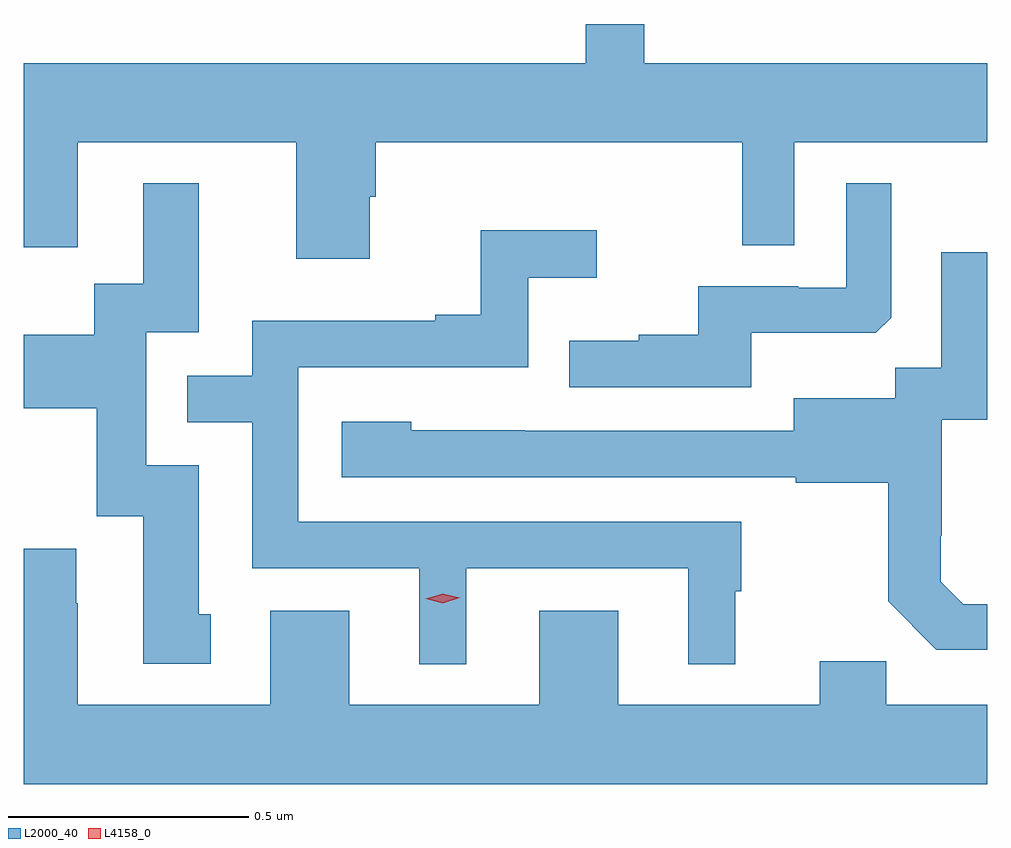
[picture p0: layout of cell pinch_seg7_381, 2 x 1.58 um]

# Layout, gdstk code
import gdstk
lib = gdstk.Library(unit=1e-6, precision=1e-09)
def P(c, l, *ps):  # polygons
    for p in ps: c.add(gdstk.Polygon(p, *l))
L2000_40 = (2000, 40)
L4158_0 = (4158, 0)

pinch_seg7_381 = lib.new_cell('pinch_seg7_381')
P(pinch_seg7_381, L2000_40, [(441.733,1029.807),(441.746,1029.807),(441.746,1029.92),(442.506,1029.92),(442.506,1029.706),(442.614,1029.706),(442.614,1029.92),(443.015,1029.92),(443.015,1030.084),(442.303,1030.084),(442.303,1030.165),(442.181,1030.165),(442.181,1030.084),(441.015,1030.084),(441.015,1029.702),(441.127,1029.702),(441.127,1029.92),(441.581,1029.92),(441.581,1029.678),(441.733,1029.678)],
  [(442.525,1029.524),(442.783,1029.524),(442.815,1029.555),(442.815,1029.835),(442.722,1029.835),(442.722,1029.618),(442.622,1029.618),(442.622,1029.621),(442.415,1029.621),(442.415,1029.52),(442.291,1029.52),(442.291,1029.508),(442.147,1029.508),(442.147,1029.411),(442.525,1029.411)],
  [(441.403,1028.94),(441.379,1028.94),(441.379,1029.249),(441.27,1029.249),(441.27,1029.525),(441.379,1029.525),(441.379,1029.835),(441.263,1029.835),(441.263,1029.626),(441.162,1029.626),(441.162,1029.52),(441.015,1029.52),(441.015,1029.368),(441.167,1029.368),(441.167,1029.144),(441.263,1029.144),(441.263,1028.838),(441.403,1028.838)],
  [(441.934,1029.036),(442.394,1029.036),(442.394,1028.837),(442.492,1028.837),(442.492,1028.988),(442.504,1028.988),(442.504,1029.132),(441.585,1029.132),(441.585,1029.453),(442.062,1029.453),(442.062,1029.638),(442.204,1029.638),(442.204,1029.737),(441.964,1029.737),(441.964,1029.562),(441.869,1029.562),(441.869,1029.549),(441.489,1029.549),(441.489,1029.435),(441.355,1029.435),(441.355,1029.339),(441.489,1029.339),(441.489,1029.036),(441.836,1029.036),(441.836,1028.837),(441.934,1028.837)],
  [(443.015,1028.961),(442.965,1028.961),(442.918,1029.008),(442.918,1029.103),(442.92,1029.103),(442.92,1029.344),(443.015,1029.344),(443.015,1029.691),(442.919,1029.691),(442.919,1029.452),(442.824,1029.452),(442.824,1029.388),(442.613,1029.388),(442.613,1029.321),(442.055,1029.321),(442.055,1029.322),(441.819,1029.322),(441.819,1029.34),(441.675,1029.34),(441.675,1029.225),(442.617,1029.225),(442.617,1029.213),(442.809,1029.213),(442.809,1028.967),(442.909,1028.867),(443.015,1028.867)],
  [(443.015,1028.752),(442.805,1028.752),(442.805,1028.843),(442.667,1028.843),(442.667,1028.752),(442.249,1028.752),(442.249,1028.947),(442.085,1028.947),(442.085,1028.752),(441.691,1028.752),(441.691,1028.947),(441.527,1028.947),(441.527,1028.752),(441.127,1028.752),(441.127,1028.963),(441.124,1028.963),(441.124,1029.076),(441.015,1029.076),(441.015,1028.588),(443.015,1028.588)])
P(pinch_seg7_381, L4158_0, [(441.885,1028.963),(441.85,1028.972),(441.849,1028.972),(441.85,1028.972),(441.885,1028.983),(441.92,1028.974),(441.921,1028.974),(441.92,1028.974)])

lib.write_gds('pinch_seg7_381.gds')
